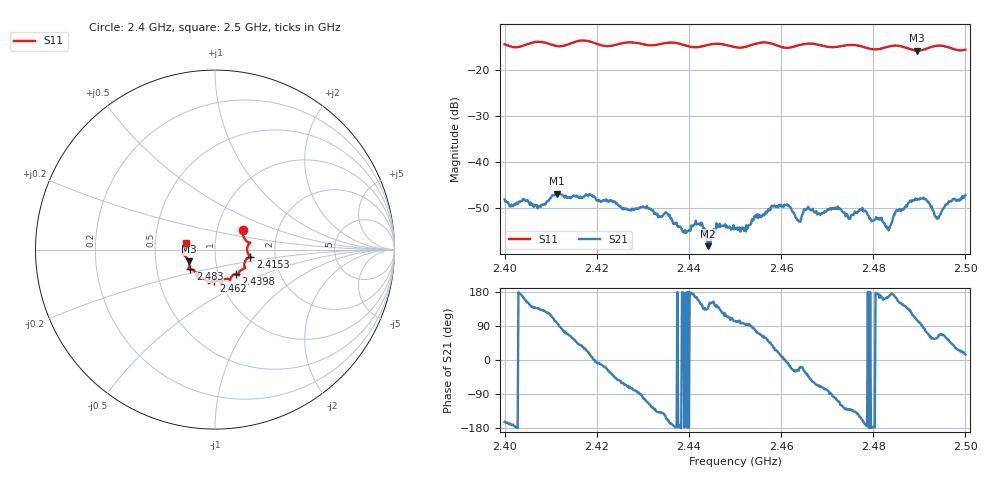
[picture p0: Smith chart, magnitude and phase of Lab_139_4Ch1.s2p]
# Hz S RI R
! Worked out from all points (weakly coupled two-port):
!   601 points, 2.4 GHz to 2.5 GHz, reference 50 ohm
!   highest |S21| = -46.84 dB at 2.4113 GHz (marker M1); lowest = -58.2 dB at 2.4442 GHz (marker M2)
!   lowest |S11| = -15.9 dB at 2.4895 GHz (marker M3), VSWR 1.38, Z = 37 - j5 ohm
!   |S11| at or under -10 dB: start of sweep to end of sweep
!   S12 and S22 are empty: the file has one direction only
!   S11 on the Smith chart (normalised r, x): 2.4 GHz: 1.33, +0.29; 2.4153 GHz: 1.48, -0.12; 2.4398 GHz: 1.21, -0.34; 2.462 GHz: 0.93, -0.33; 2.483 GHz: 0.74, -0.17; 2.5 GHz: 0.72, +0.06
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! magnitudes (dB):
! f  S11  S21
! 2.4 GHz  -14.5  -48.1
! 2.4073 GHz  -14.0  -49.7
! 2.4113 GHz  -14.9  -46.8
! 2.4153 GHz  -14.0  -47.5
! 2.4167 GHz  -13.7  -47.8
! 2.4333 GHz  -14.6  -52.0
! 2.4398 GHz  -15.0  -54.9
! 2.4425 GHz  -15.1  -53.7
! 2.4442 GHz  -14.6  -58.2
! 2.4465 GHz  -14.4  -54.0
! 2.45 GHz  -15.1  -54.4
! 2.4583 GHz  -14.5  -49.6
! 2.462 GHz  -15.2  -49.8
! 2.4638 GHz  -14.7  -52.8
! 2.4667 GHz  -14.4  -50.4
! 2.4778 GHz  -15.1  -50.7
! 2.483 GHz  -15.1  -54.4
! 2.4833 GHz  -15.0  -54.8
! 2.485 GHz  -14.8  -50.5
! 2.4895 GHz  -15.9  -48.2
! 2.4938 GHz  -14.8  -52.3
! 2.5 GHz  -15.7  -47.2
